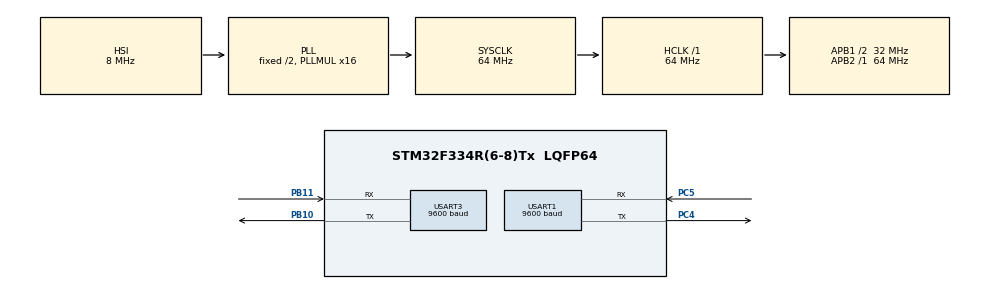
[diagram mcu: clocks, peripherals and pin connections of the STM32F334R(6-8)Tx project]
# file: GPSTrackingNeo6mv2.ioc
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Mcu.Family=STM32F3
Mcu.Name=STM32F334R(6-8)Tx
Mcu.Package=LQFP64
NVIC.PriorityGroup=NVIC_PRIORITYGROUP_0
NVIC.USART1_IRQn=true\:0\:0\:false\:false\:true\:true\:true\:true
NVIC.USART3_IRQn=true\:0\:0\:false\:false\:true\:true\:true\:true
PA13.Mode=Serial_Wire
PA13.Signal=SYS_JTMS-SWDIO
PA14.Mode=Serial_Wire
PA14.Signal=SYS_JTCK-SWCLK
PB10.Mode=Asynchronous
PB10.Signal=USART3_TX
PB11.Mode=Asynchronous
PB11.Signal=USART3_RX
PC4.Mode=Asynchronous
PC4.Signal=USART1_TX
PC5.Mode=Asynchronous
PC5.Signal=USART1_RX
ProjectManager.HeapSize=0x200
ProjectManager.StackSize=0x400
ProjectManager.TargetToolchain=STM32CubeIDE
RCC.AHBFreq_Value=64000000
RCC.APB1CLKDivider=RCC_HCLK_DIV2
RCC.APB1Freq_Value=32000000
RCC.APB1TimFreq_Value=64000000
RCC.APB2Freq_Value=64000000
RCC.APB2TimFreq_Value=64000000
RCC.CortexFreq_Value=64000000
RCC.FLatency-AdvancedSettings=FLASH_LATENCY_2
RCC.HCLKFreq_Value=64000000
RCC.HSE_VALUE=8000000
RCC.HSI_VALUE=8000000
RCC.PLLMUL=RCC_PLL_MUL16
RCC.SYSCLKFreq_VALUE=64000000
RCC.SYSCLKSourceVirtual=RCC_SYSCLKSOURCE_PLLCLK
USART1.BaudRate=9600
USART1.VirtualMode-Asynchronous=VM_ASYNC
USART3.BaudRate=9600
USART3.VirtualMode-Asynchronous=VM_ASYNC
board=NUCLEO-F334R8

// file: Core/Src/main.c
/* USER CODE BEGIN Header */
/**
  ******************************************************************************
  * @file           : main.c
  * @brief          : Main program body
  ******************************************************************************
  * @attention
  *
  * Copyright (c) 2023 STMicroelectronics.
  * All rights reserved.
  *
  * This software is licensed under terms that can be found in the LICENSE file
  * in the root directory of this software component.
  * If no LICENSE file comes with this software, it is provided AS-IS.
  *
  ******************************************************************************
  */
/* USER CODE END Header */
#include "main.h"

/* USER CODE BEGIN Includes */

#include "lwgps/lwgps.h"
#include <stdio.h>

/* USER CODE END Includes */

UART_HandleTypeDef huart1;
UART_HandleTypeDef huart3;

/* USER CODE BEGIN PV */

lwgps_t gps;
char message_sander1[1]={0};
uint8_t rx_buffer[128];
uint8_t rx_index = 0;
uint8_t rx_data = 0;

/* USER CODE END PV */

void SystemClock_Config(void);
static void MX_GPIO_Init(void);
static void MX_USART1_UART_Init(void);
static void MX_USART3_UART_Init(void);
/* USER CODE BEGIN PFP */

  void HKK_UART_Data_Transmitter (float Transmit_Data);

/* USER CODE END PFP */

/* USER CODE BEGIN 0 */
void HAL_UART_RxCpltCallback(UART_HandleTypeDef *huart)
{
	if(huart == &huart1) {
		if(rx_data != '\n' && rx_index < sizeof(rx_buffer)) {
			rx_buffer[rx_index++] = rx_data;

		}
		else {
			lwgps_process(&gps, rx_buffer, rx_index+1);
			rx_index = 0;
			rx_data = 0;
		}
		HAL_UART_Receive_IT(&huart1, &rx_data, 1);
	}
}
/* USER CODE END 0 */

int main(void)
{

  /* MCU Configuration--------------------------------------------------------*/

  /* Reset of all peripherals, Initializes the Flash interface and the Systick. */
  HAL_Init();

  /* Configure the system clock */
  SystemClock_Config();

  /* Initialize all configured peripherals */
  MX_GPIO_Init();
  MX_USART1_UART_Init();
  MX_USART3_UART_Init();
  /* USER CODE BEGIN 2 */

  HAL_UART_Receive_IT(&huart1, &rx_data, 1);

  /* USER CODE END 2 */

  /* Infinite loop */
  while (1)
  {
	  if(gps.sats_in_view>6 ) {

		  HAL_GPIO_WritePin(GPIOA, GPIO_PIN_5,SET);
		  		USART3->TDR = 'L';
		  		while ((USART3->ISR & USART_ISR_TXE) == 0)
		  			;
		  		USART3->TDR = 'A';
		  		while ((USART3->ISR & USART_ISR_TXE) == 0)
		  			;
		  		HKK_UART_Data_Transmitter(gps.latitude);
		  		USART3->TDR = '\n';
		  		while ((USART3->ISR & USART_ISR_TXE) == 0)
		  		;
		  		USART3->TDR = 'L';
		  		while ((USART3->ISR & USART_ISR_TXE) == 0)
		  			;
		  		USART3->TDR = 'O';
		  		while ((USART3->ISR & USART_ISR_TXE) == 0)
		  			;
		  		HKK_UART_Data_Transmitter(gps.longitude);
		  		USART3->TDR = '\n';
		  		while ((USART3->ISR & USART_ISR_TXE) == 0);
		  		HAL_Delay(1000);
	  	  }
	  	  else{
	  			HAL_GPIO_WritePin(GPIOA, GPIO_PIN_5,RESET);
	  	  }
  }
}

void SystemClock_Config(void)
{
  RCC_OscInitTypeDef RCC_OscInitStruct = {0};
  RCC_ClkInitTypeDef RCC_ClkInitStruct = {0};
  RCC_PeriphCLKInitTypeDef PeriphClkInit = {0};

  /** Initializes the RCC Oscillators according to the specified parameters
  * in the RCC_OscInitTypeDef structure.
  */
  RCC_OscInitStruct.OscillatorType = RCC_OSCILLATORTYPE_HSI;
  RCC_OscInitStruct.HSIState = RCC_HSI_ON;
  RCC_OscInitStruct.HSICalibrationValue = RCC_HSICALIBRATION_DEFAULT;
  RCC_OscInitStruct.PLL.PLLState = RCC_PLL_ON;
  RCC_OscInitStruct.PLL.PLLSource = RCC_PLLSOURCE_HSI;
  RCC_OscInitStruct.PLL.PLLMUL = RCC_PLL_MUL16;
  if (HAL_RCC_OscConfig(&RCC_OscInitStruct) != HAL_OK)
  {
    Error_Handler();
  }

  /** Initializes the CPU, AHB and APB buses clocks
  */
  RCC_ClkInitStruct.ClockType = RCC_CLOCKTYPE_HCLK|RCC_CLOCKTYPE_SYSCLK
                              |RCC_CLOCKTYPE_PCLK1|RCC_CLOCKTYPE_PCLK2;
  RCC_ClkInitStruct.SYSCLKSource = RCC_SYSCLKSOURCE_PLLCLK;
  RCC_ClkInitStruct.AHBCLKDivider = RCC_SYSCLK_DIV1;
  RCC_ClkInitStruct.APB1CLKDivider = RCC_HCLK_DIV2;
  RCC_ClkInitStruct.APB2CLKDivider = RCC_HCLK_DIV1;

  if (HAL_RCC_ClockConfig(&RCC_ClkInitStruct, FLASH_LATENCY_2) != HAL_OK)
  {
    Error_Handler();
  }
  PeriphClkInit.PeriphClockSelection = RCC_PERIPHCLK_USART1;
  PeriphClkInit.Usart1ClockSelection = RCC_USART1CLKSOURCE_PCLK1;
  if (HAL_RCCEx_PeriphCLKConfig(&PeriphClkInit) != HAL_OK)
  {
    Error_Handler();
  }
}

static void MX_USART1_UART_Init(void)
{

  huart1.Instance = USART1;
  huart1.Init.BaudRate = 9600;
  huart1.Init.WordLength = UART_WORDLENGTH_8B;
  huart1.Init.StopBits = UART_STOPBITS_1;
  huart1.Init.Parity = UART_PARITY_NONE;
  huart1.Init.Mode = UART_MODE_TX_RX;
  huart1.Init.HwFlowCtl = UART_HWCONTROL_NONE;
  huart1.Init.OverSampling = UART_OVERSAMPLING_16;
  huart1.Init.OneBitSampling = UART_ONE_BIT_SAMPLE_DISABLE;
  huart1.AdvancedInit.AdvFeatureInit = UART_ADVFEATURE_NO_INIT;
  if (HAL_UART_Init(&huart1) != HAL_OK)
  {
    Error_Handler();
  }

}

static void MX_USART3_UART_Init(void)
{

  huart3.Instance = USART3;
  huart3.Init.BaudRate = 9600;
  huart3.Init.WordLength = UART_WORDLENGTH_8B;
  huart3.Init.StopBits = UART_STOPBITS_1;
  huart3.Init.Parity = UART_PARITY_NONE;
  huart3.Init.Mode = UART_MODE_TX_RX;
  huart3.Init.HwFlowCtl = UART_HWCONTROL_NONE;
  huart3.Init.OverSampling = UART_OVERSAMPLING_16;
  huart3.Init.OneBitSampling = UART_ONE_BIT_SAMPLE_DISABLE;
  huart3.AdvancedInit.AdvFeatureInit = UART_ADVFEATURE_NO_INIT;
  if (HAL_UART_Init(&huart3) != HAL_OK)
  {
    Error_Handler();
  }

}

static void MX_GPIO_Init(void)
{
	GPIO_InitTypeDef GPIO_InitStruct = {0};

  /* GPIO Ports Clock Enable */
  __HAL_RCC_GPIOC_CLK_ENABLE();
  __HAL_RCC_GPIOB_CLK_ENABLE();
  __HAL_RCC_GPIOA_CLK_ENABLE();

    /**USART1 GPIO Configuration
        PC4     ------> USART1_TX
        PC5     ------> USART1_RX
        */
        GPIO_InitStruct.Pin = GPIO_PIN_4|GPIO_PIN_5;
        GPIO_InitStruct.Mode = GPIO_MODE_AF_PP;
        GPIO_InitStruct.Pull = GPIO_NOPULL;
        GPIO_InitStruct.Speed = GPIO_SPEED_FREQ_HIGH;
        GPIO_InitStruct.Alternate = GPIO_AF7_USART1;
        HAL_GPIO_Init(GPIOC, &GPIO_InitStruct);

}

/* USER CODE BEGIN 4 */
void HKK_UART_Data_Transmitter(float Transmit_Data)
{
	char Buffer[9];
	sprintf(Buffer, "%f", Transmit_Data);
	for (int i = 0; i < sizeof(Buffer); i++){
		USART3->TDR = Buffer[i];
		while ((USART3->ISR & USART_ISR_TXE) == 0)
			;

	}

	}
/* USER CODE END 4 */

void Error_Handler(void)
{
  __disable_irq();
  while (1)
  {
  }
}
